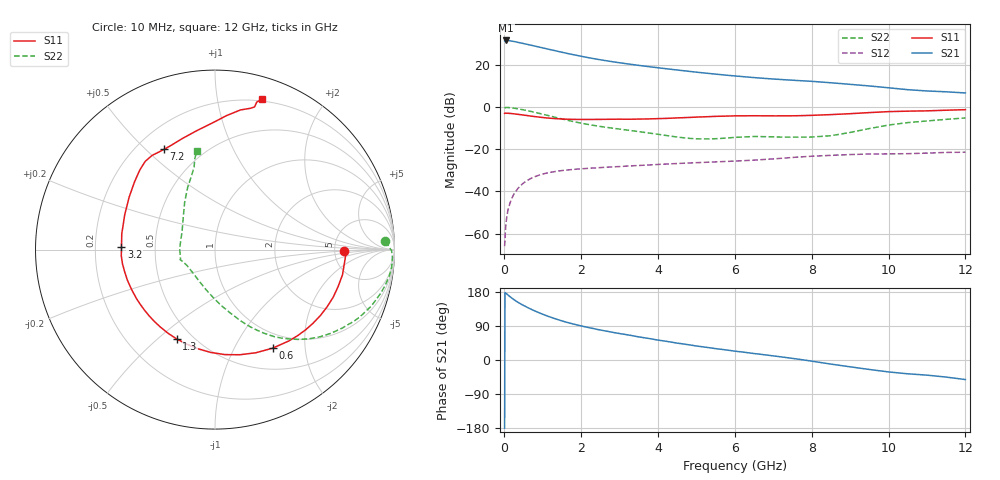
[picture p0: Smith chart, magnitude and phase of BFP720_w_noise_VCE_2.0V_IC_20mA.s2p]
! (c) 2012  Infineon Technologies AG, Munich
! Infineon Technologies  Discrete & RF Semiconductors
! BFP720
! VCE =  2.0 V,  IC =  20 mA
! Common Emitter S-Parameters:  Aug 2012
# GHz  S  MA  R  50
!  f  S11  S21  S12  S22
! GHz  MAG  ANG  MAG  ANG  MAG  ANG  MAG  ANG
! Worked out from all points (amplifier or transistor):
!   105 points, 10 MHz to 12 GHz, reference 50 ohm
!   highest |S21| = 31.8 dB at 50 MHz (marker M1)
!   |S21| within 3 dB of that: start of sweep to 875.6 MHz
!   unconditionally stable (mu >= 1): start of sweep to 13.59 MHz; 4.338 GHz to 11.02 GHz
!   at 300 MHz: K = 0.15, MSG = 35.6 dB, |S12| = -40.0 dB
!   at 3.6 GHz: K = 0.90, MSG = 23.6 dB, |S12| = -27.6 dB
!   at 12 GHz: K = 0.78, MSG = 14.1 dB, |S12| = -21.3 dB
!   lowest NFmin = 0.77 dB at 450 MHz
!   S11 on the Smith chart (normalised r, x): 10 MHz: 6.12, -0.16; 600 MHz: 0.78, -1.44; 1.3 GHz: 0.41, -0.58; 3.2 GHz: 0.31, +0.01; 7.2 GHz: 0.31, +0.57; 12 GHz: 0.18, +1.35
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0.01  0.7193 -0.5  38.01 -179.9  0.0005 -68.2  0.9506 2.8
0.02  0.7294 -2.2  38.67 178.0  0.0007 80.4  0.9839 -0.4
0.05  0.7253 -5.5  38.92 175.6  0.0019 88.8  0.9894 -2.4
0.15  0.7162 -16.7  38.14 167.1  0.0053 82.3  0.981 -8.9
0.3  0.6927 -32.0  36.09 156.0  0.01 75.1  0.9399 -17.3
0.45  0.6649 -46.1  33.7 146.8  0.0144 68.8  0.8901 -24.9
0.6  0.6364 -59.6  31.44 138.9  0.0183 63.1  0.8335 -31.6
0.8  0.6019 -76.7  28.57 129.3  0.0225 56.4  0.7604 -39.7
0.9  0.5877 -84.6  27.23 125.0  0.0243 53.5  0.723 -43.4
1.1  0.5607 -99.6  24.71 116.9  0.0273 48.3  0.6516 -49.9
1.3  0.5417 -113.1  22.46 109.7  0.0295 44.2  0.5874 -55.7
1.7  0.5201 -135.3  18.64 97.5  0.0328 38.1  0.4802 -64.8
2.1  0.5146 -151.2  15.74 87.8  0.035 34.3  0.4049 -71.8
2.6  0.5183 -166.1  13.06 77.2  0.0374 31.4  0.3405 -79.3
3.2  0.5212 178.5  10.83 66.5  0.0401 29.1  0.2878 -87.9
4.1  0.5422 156.7  8.515 51.1  0.0443 26.4  0.2216 -104.9
5  0.5863 139.8  6.863 36.9  0.0483 23.8  0.1786 -134.5
6.1  0.6274 127.4  5.475 22.2  0.0533 21.4  0.1948 -161.0
7.2  0.6268 116.9  4.588 8.3  0.0613 19.3  0.1963 -171.0
8.5  0.6716 98.4  3.838 -10.8  0.0721 11.0  0.2112 150.1
10.5  0.8118 75.9  2.629 -36.4  0.0791 -2.6  0.4332 107.5
12  0.8802 72.6  2.198 -51.6  0.0857 -11.8  0.5601 100.4
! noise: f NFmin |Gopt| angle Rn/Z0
0.45  0.77  0.18  1  0.29
1.8  0.82  0.18  8  0.14
2.4  0.88  0.18  11  0.54
5.5  1.11  0.17  -64  0.18
10  1.26  0.48  -71  0.33
